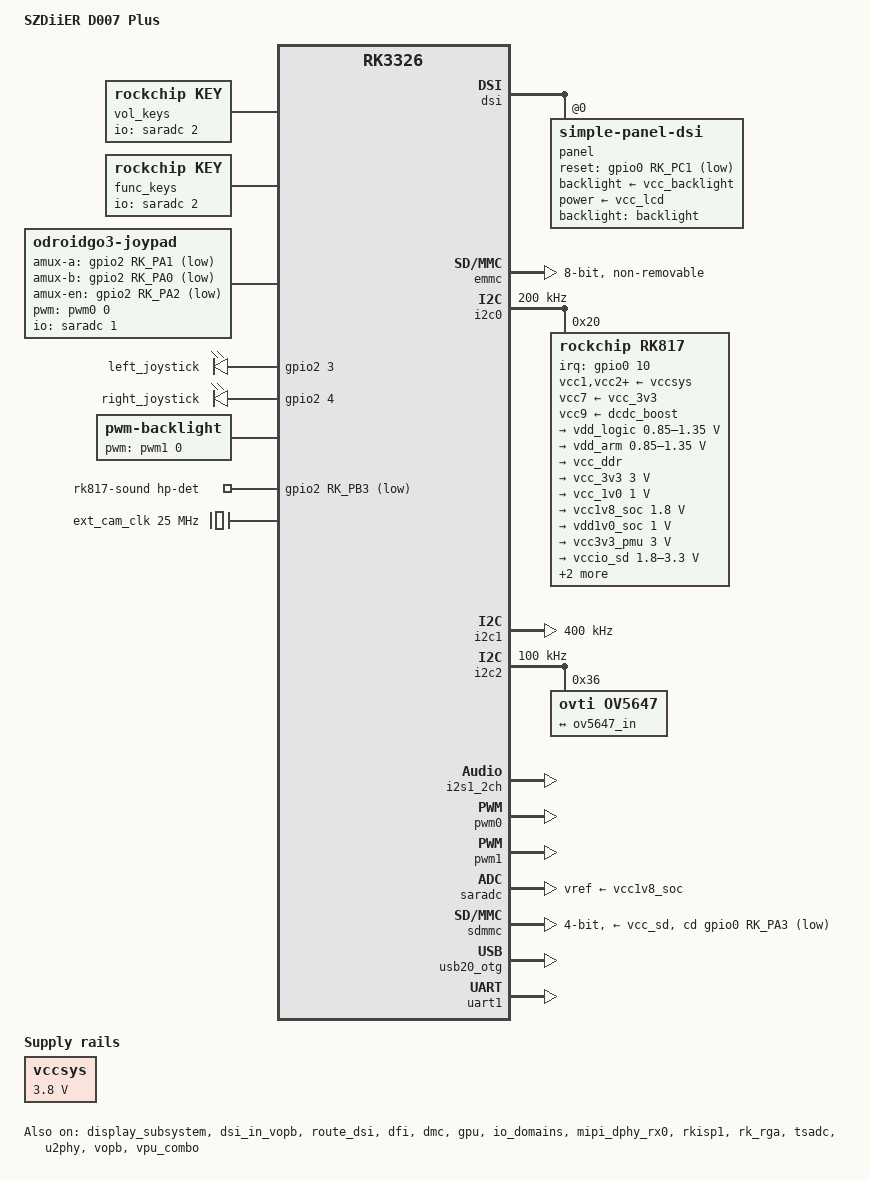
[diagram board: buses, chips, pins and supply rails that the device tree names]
// SPDX-License-Identifier: (GPL-2.0+ OR MIT)
/*
 * Copyright (c) 2021 Anbernic
 *
 * SZDiiER D007 Plus
 *
 */

/dts-v1/;
#include <dt-bindings/display/drm_mipi_dsi.h>
#include <dt-bindings/gpio/gpio.h>
#include <dt-bindings/input/input.h>
#include <dt-bindings/pinctrl/rockchip.h>
#include <dt-bindings/sensor-dev.h>
#include "rk3326.dtsi"
#include "rk3326-linux.dtsi"

/ {
	model = "SZDiiER D007 Plus";
	compatible = "rockchip,rk3326-d007-linux", "rockchip,rk3326";

	chosen {
                bootargs = "";
	};


	vol_keys: rg351-keys {
		compatible = "rockchip,key";
		io-channels = <&saradc 2>;

		vol-down-key {
			linux,code = <KEY_VOLUMEDOWN>;
			label = "volume down";
			rockchip,adc_value = <166>;
		};

		vol-up-key {
			linux,code = <KEY_VOLUMEUP>;
			label = "volume up";
			rockchip,adc_value = <9>;
		};
	};


	func_keys: func-keys {
		compatible = "rockchip,key";
		io-channels = <&saradc 2>;

		select-key {
			linux,code = <KEY_RIGHTSHIFT>;
			label = "select";
			rockchip,adc_value = <347>;
		};

		start-key {
			linux,code = <KEY_ENTER>;
			label = "start";
			rockchip,adc_value = <553>;
		};

		esc-key {
			linux,code = <KEY_ESC>;
			label = "esc/FN";
			rockchip,adc_value = <740>;
		};
	};

	joypad: odroidgo3-joypad {
                compatible = "odroidgo3-joypad";
                pwms = <&pwm0 0 200000000 0>;		 
                pwm-names = "enable";
                rumble-boost-weak = <0x0000>;
                rumble-boost-strong = <0x0000>;

                joypad-name = "GO-Super Gamepad";
                joypad-product = <0x1100>;
                joypad-revision = <0x0100>;

		status = "okay";
                /*
                  - odroidgo3-joypad sysfs list -
		   * for poll device interval(ms)
		   /sys/devices/platform/odroidgo3_joypad/poll_interval [rw]
		   ex) echo 20 > poll_interval
                   * for button-adc-fuzz
		   /sys/devices/platform/odroidgo3_joypad/adc_fuzz [r]
                   * for button-adc-flat
		   /sys/devices/platform/odroidgo3_joypad/adc_flat [r]

		   * for report control(1:enable, 0:disable)
		   /sys/devices/platform/odroidgo3_joypad/enable [rw]
		   * for adc calibration value setup(current adcs value -> cal value)
		   /sys/devices/platform/odroidgo3_joypad/adc_cal [rw]
		   ex) echo 0 > adc_cal
		   * for amux data debug
		   * Joypad driver is disabled when using this sysfs.
		   /sys/devices/platform/odroidgo3_joypad/amux_debug [rw]
		   ex) echo 0 > amux_debug --> select amux channel
		   ex) cat amux_debug --> get adc data of seleted channel
                */

		/* gpio pincontrol setup */
                pinctrl-names = "default";
                pinctrl-0 = <&btn_pins>;
				pinctrl-1 = <&pwm0_pin>;

		/* Analog mux define */
		io-channel-names = "amux_adc";
		io-channels = <&saradc 1>;

		/* adc mux channel count */
		amux-count = <4>;
		/* adc mux select(a,b) gpio */
		amux-a-gpios = <&gpio2 RK_PA1 GPIO_ACTIVE_LOW>;
		amux-b-gpios = <&gpio2 RK_PA0 GPIO_ACTIVE_LOW>;
		/* adc mux enable gpio */
		amux-en-gpios = <&gpio2 RK_PA2 GPIO_ACTIVE_LOW>;

		/* adc calculate scale */
		button-adc-scale = <2>;

		/* adc deadzone range  */
		button-adc-deadzone = <16>;

		/*
		  specifies fuzz value that is used to filter noise from
		  the event stream.
		*/
		button-adc-fuzz = <32>;
		button-adc-flat = <32>;

		/*
		  Analog Stick data tuning value(precent)
		  p = positive direction, n = negative direction
		  report value = (real_adc_data * tuning_value) / 100
		*/
		abs_x-p-tuning = <200>;
		abs_x-n-tuning = <850>;

		abs_y-p-tuning = <250>;
		abs_y-n-tuning = <850>;

		abs_rx-p-tuning = <200>;
		abs_rx-n-tuning = <850>;

		abs_ry-p-tuning = <200>;
		abs_ry-n-tuning = <850>;

		/* poll device interval (ms), adc read interval */
		poll-interval = <10>;

		/* required for RG351MP  */
		invert-absx;
		invert-absrx;
		
		/* required for D007 */
		switch-xy;
		switch-rxy;

		/* gpio button auto repeat set value : default disable */
		/*
			autorepeat;
		*/

		/*
		      *** ODROIDGO3-Advance Switch layoout ***
		|------------------------------------------------|
		| sw15  sw21        sw10   sw9        sw20  sw16 |
		|------------------------------------------------|
		|      sw19                            sw22      |
		|              |-------------------|             |
		|     sw1      |                   |      sw8    |
		|  sw3   sw4   |                   |   sw7   sw5 |
		|     sw2      |    LCD Display    |      sw6    |
		|              |                   |             |
		|              |                   |             |
		|              |-------------------|             |
		|  sw11 sw12        | sd-slot |       sw13 sw14  |
		|-------------------|         |------------------|
		*/
                /*
                    joypad driver is poll-device driver.
                    poll-device is does not support wakeup-source.
		*/
                sw15 {
                        gpios = <&gpio3 RK_PC3 GPIO_ACTIVE_LOW>;
                        label = "GPIO TOP-LEFT";
                        linux,code = <BTN_TL>; 
                };
                sw16 {
                        gpios = <&gpio3 RK_PC1 GPIO_ACTIVE_LOW>;
                        label = "GPIO TOP-RIGHT";
                        linux,code = <BTN_TR>; 
                };
                sw20 {
                        gpios = <&gpio3 RK_PC0 GPIO_ACTIVE_LOW>;
                        label = "GPIO TOP-RIGHT2";
                        linux,code = <BTN_TR2>; 
                };
                sw21 {
                        gpios = <&gpio3 RK_PC2 GPIO_ACTIVE_LOW>;
                        label = "GPIO TOP-LEFT2";
                        linux,code = <BTN_TL2>; 
                };
                sw8 {
                        gpios = <&gpio3 RK_PB2 GPIO_ACTIVE_LOW>;
                        label = "GPIO BTN-X";
                        linux,code = <BTN_NORTH>; 
                };
                sw5 {
                        gpios = <&gpio3 RK_PC4 GPIO_ACTIVE_LOW>;
                        label = "GPIO KEY BTN-A";
                        linux,code = <BTN_EAST>;
                };
                sw6 {
                        gpios = <&gpio3 RK_PC5 GPIO_ACTIVE_LOW>;
                        label = "GPIO BTN-B";
                        linux,code = <BTN_SOUTH>;
                };
                sw7 {
                        gpios = <&gpio3 RK_PB3 GPIO_ACTIVE_LOW>;
                        label = "GPIO BTN-Y";
                        linux,code = <BTN_WEST>;
                };
                sw3 {
                        gpios = <&gpio3 RK_PB5 GPIO_ACTIVE_LOW>;
                        label = "GPIO DPAD-LEFT";
                        linux,code = <BTN_DPAD_LEFT>;
                };
                sw4 {
                        gpios = <&gpio3 RK_PD0 GPIO_ACTIVE_LOW>;
                        label = "GPIO DPAD-RIGHT";
                        linux,code = <BTN_DPAD_RIGHT>;
                };
                sw1 {
                        gpios = <&gpio3 RK_PD1 GPIO_ACTIVE_LOW>;
                        label = "GPIO DPAD-UP";
                        linux,code = <BTN_DPAD_UP>;
                };
                sw2 {
                        gpios = <&gpio3 RK_PD2 GPIO_ACTIVE_LOW>;
                        label = "GPIO DPAD-DOWN";
                        linux,code = <BTN_DPAD_DOWN>;
                };
                sw11 { //sw11
                        gpios = <&gpio2 RK_PB1 GPIO_ACTIVE_LOW>;
                        label = "GPIO F4";
                        linux,code = <BTN_TRIGGER_HAPPY3>; //Left click BTN_TRIGGER_HAPPY4
                };
                sw12 { //sw12
                        gpios = <&gpio2 RK_PB2 GPIO_ACTIVE_LOW>;
                        label = "GPIO F1";
                        linux,code = <BTN_TRIGGER_HAPPY4>; //Right click BTN_TRIGGER_HAPPY1
                };
				sw19 { //sw19 non existing
                        gpios = <&gpio3 RK_PA7 GPIO_ACTIVE_LOW>;
                        label = "GPIO F3"; 
                        linux,code = <BTN_TRIGGER_HAPPY1>; //NOT mapped
                };
				sw22 { //sw22 non existing
                        gpios = <&gpio3 RK_PB4 GPIO_ACTIVE_LOW>;
                        label = "GPIO F2";
                        linux,code = <BTN_TRIGGER_HAPPY2>; //NOT mapped
                };
				sw23 { //sw23 non existing
                        gpios = <&gpio0 RK_PC2 GPIO_ACTIVE_LOW>;
                        label = "GPIO F4";
                        linux,code = <BTN_TRIGGER_HAPPY6>; //NOT mapped
                };
        };

	fiq-debugger {
		compatible = "rockchip,fiq-debugger";
		rockchip,serial-id = <2>;
		rockchip,wake-irq = <0>;
		/* If enable uart uses irq instead of fiq */
		rockchip,irq-mode-enable = <0>;
		rockchip,baudrate = <115200>;  /* Only 115200 and 1500000 */
		interrupts = <GIC_SPI 127 IRQ_TYPE_LEVEL_LOW>;
		pinctrl-names = "default";
		pinctrl-0 = <&uart2m1_xfer>;
		status = "okay";
	};

	leds: gpio_leds {
		compatible = "gpio-leds";
		status = "okay";

		pinctrl-names = "led_pins";
		pinctrl-0 = <&led_pins>;

		left_joystick {
			default-state = "off";
			gpios = <&gpio2 3 GPIO_ACTIVE_HIGH>;
		};

		right_joystick  {
			default-state = "off";
			gpios = <&gpio2 4 GPIO_ACTIVE_HIGH>;
		};


	};

	backlight: backlight {
		compatible = "pwm-backlight";
                pwms = <&pwm1 0 62745 0>;
                brightness-levels = <
                          2   3   4   5   6   7
                          8   9  10  11  12  13  14  15
                         16  17  18  19  20  21  22  23
                         24  25  26  27  28  29  30  31
                         32  33  34  35  36  37  38  39
                         40  41  42  43  44  45  46  47
                         48  49  50  51  52  53  54  55
                         56  57  58  59  60  61  62  63
                         64  65  66  67  68  69  70  71
                         72  73  74  75  76  77  78  79
                         80  81  82  83  84  85  86  87
                         88  89  90  91  92  93  94  95
                         96  97  98  99 100 101 102 >;
                default-brightness-level = <51>; /* default 50% */
	};

	rk817-sound {
		compatible = "simple-audio-card";
		simple-audio-card,format = "i2s";
		simple-audio-card,name = "rockchip,rk817-codec";
		simple-audio-card,mclk-fs = <256>;
		simple-audio-card,widgets =
			"Microphone", "Mic Jack",
			"Headphone", "Headphone Jack";
		simple-audio-card,routing =
			"MIC_IN", "Mic Jack",
			/*"IN1P", "Mic Jack",*/
			"Headphone Jack", "HPOL",
			"Headphone Jack", "HPOR";
		simple-audio-card,hp-det-gpio = <&gpio2 RK_PB3 GPIO_ACTIVE_LOW>;
		simple-audio-card,codec-hp-det = <1>;
		simple-audio-card,cpu {
			sound-dai = <&i2s1_2ch>;
		};
		simple-audio-card,codec {
			sound-dai = <&rk817_codec>;
		};
	};
/*
	rk_headset {
		compatible = "rockchip_headset";
		headset_gpio = <&gpio2 RK_PB3 GPIO_ACTIVE_LOW>;
		pinctrl-names = "default";
		pinctrl-0 = <&hp_det>;
	};*/

	vccsys: vccsys {
		compatible = "regulator-fixed";
		regulator-name = "vcc3v8_sys";
		regulator-always-on;
		regulator-min-microvolt = <3800000>;
		regulator-max-microvolt = <3800000>;
	};

	ext_cam_clk: external-camera-clock {
		compatible = "fixed-clock";
		clock-frequency = <25000000>;
		clock-output-names = "CLK_CAMERA_25MHZ";
		#clock-cells = <0>;
	};
};
&bus_apll {
	bus-supply = <&vdd_logic>;
	status = "okay";
};

&cpu0 {
	cpu-supply = <&vdd_arm>;
};

&cpu0_opp_table {
	rockchip,avs = <1>;

	/* bin scaling clock 1.296MHz */
	rockchip,bin-scaling-sel = <
		0	10
		1	13
		2	16
		3	20
	>;

	/delete-node/ opp-408000000;
	/delete-node/ opp-600000000;
	/delete-node/ opp-696000000;
	/delete-node/ opp-1416000000;
	/delete-node/ opp-1512000000;

	opp-816000000 {
		opp-hz = /bits/ 64 <816000000>;
		opp-microvolt = <1050000 1050000 1350000>;
		opp-microvolt-L0 = <1050000 1050000 1350000>;
		opp-microvolt-L1 = <1000000 1000000 1350000>;
		opp-microvolt-L2 = <1000000 1000000 1350000>;
		opp-microvolt-L3 = <950000  950000  1350000>;
		clock-latency-ns = <40000>;
		opp-suspend;
	};

	opp-912000000 {
		opp-hz = /bits/ 64 <912000000>;
		opp-microvolt = <1125000 1125000 1350000>;
		opp-microvolt-L0 = <1125000 1125000 1350000>;
		opp-microvolt-L1 = <1075000 1075000 1350000>;
		opp-microvolt-L2 = <1075000 1075000 1350000>;
		opp-microvolt-L3 = <1000000 1000000 1350000>;
		clock-latency-ns = <40000>;
	};

	opp-1008000000 {
		opp-hz = /bits/ 64 <1008000000>;
		opp-microvolt = <1175000 1175000 1350000>;
		opp-microvolt-L0 = <1175000 1175000 1350000>;
		opp-microvolt-L1 = <1125000 1125000 1350000>;
		opp-microvolt-L2 = <1125000 1125000 1350000>;
		opp-microvolt-L3 = <1050000 1050000 1350000>;
		clock-latency-ns = <40000>;
	};

	opp-1200000000 {
		opp-hz = /bits/ 64 <1200000000>;
		opp-microvolt = <1300000 1300000 1350000>;
		opp-microvolt-L0 = <1300000 1300000 1350000>;
		opp-microvolt-L1 = <1275000 1275000 1350000>;
		opp-microvolt-L2 = <1250000 1250000 1350000>;
		opp-microvolt-L3 = <1200000 1200000 1350000>;
		clock-latency-ns = <40000>;
	};

	opp-1248000000 {
		opp-hz = /bits/ 64 <1248000000>;
		opp-microvolt = <1350000 1350000 1350000>;
		opp-microvolt-L0 = <1350000 1350000 1350000>;
		opp-microvolt-L1 = <1300000 1300000 1350000>;
		opp-microvolt-L2 = <1275000 1275000 1350000>;
		opp-microvolt-L3 = <1225000 1225000 1350000>;
		clock-latency-ns = <40000>;
	};

	opp-1296000000 {
		opp-hz = /bits/ 64 <1296000000>;
		opp-microvolt = <1350000 1350000 1350000>;
		opp-microvolt-L0 = <1350000 1350000 1350000>;
		opp-microvolt-L1 = <1350000 1350000 1350000>;
		opp-microvolt-L2 = <1300000 1300000 1350000>;
		opp-microvolt-L3 = <1250000 1250000 1350000>;
		clock-latency-ns = <40000>;
	};

	opp-1320000000 {
		opp-hz = /bits/ 64 <1320000000>;
		opp-microvolt = <1350000 1350000 1350000>;
		opp-microvolt-L0 = <1350000 1350000 1350000>;
		opp-microvolt-L1 = <1350000 1350000 1350000>;
		opp-microvolt-L2 = <1300000 1300000 1350000>;
		opp-microvolt-L3 = <1250000 1250000 1350000>;
		clock-latency-ns = <40000>;
	};

	opp-1344000000 {
		opp-hz = /bits/ 64 <1344000000>;
		opp-microvolt = <1350000 1350000 1350000>;
		opp-microvolt-L0 = <1350000 1350000 1350000>;
		opp-microvolt-L1 = <1350000 1350000 1350000>;
		opp-microvolt-L2 = <1300000 1300000 1350000>;
		opp-microvolt-L3 = <1250000 1250000 1350000>;
		clock-latency-ns = <40000>;
	};

	opp-1368000000 {
		opp-hz = /bits/ 64 <1368000000>;
		opp-microvolt = <1350000 1350000 1350000>;
		opp-microvolt-L0 = <1350000 1350000 1350000>;
		opp-microvolt-L1 = <1350000 1350000 1350000>;
		opp-microvolt-L2 = <1300000 1300000 1350000>;
		opp-microvolt-L3 = <1250000 1250000 1350000>;
		clock-latency-ns = <40000>;
	};
};

&display_subsystem {
	status = "okay";
};

&dsi {
	status = "okay";

	panel@0 {
		compatible = "simple-panel-dsi";
		reg = <0>;

		/* pwm1 backlight */
		backlight = <&backlight>;
		/* RK817 LDO7 */
		backlight-supply = <&vcc_backlight>;
		/* RK817 LDO8 */
		power-supply = <&vcc_lcd>;

		/* Rev 0.2 LCD reset gpio GPIO3.C0 */
		reset-gpios = <&gpio0 RK_PC1 GPIO_ACTIVE_LOW>;

		prepare-delay-ms = <120>;
		reset-delay-ms = <200>;
		init-delay-ms = <20>;
		enable-delay-ms = <20>;
		disable-delay-ms = <20>;
		unprepare-delay-ms = <120>;

		/* LCD size */
		width-mm = <64>;
		height-mm = <48>;

		dsi,flags = <(MIPI_DSI_MODE_VIDEO           |
			      MIPI_DSI_MODE_VIDEO_BURST     |
			      MIPI_DSI_MODE_LPM             |
			      MIPI_DSI_MODE_EOT_PACKET)>;

		dsi,format = <MIPI_DSI_FMT_RGB888>;
		dsi,lanes = <4>;

		/*
			- panel-init-sequence data description -
			  mipi_cmd, delay(ms), len, lcd_cmd, lcd_data...

			- mipi_cmd description -
			  05 : MIPI_DSI_SHORT_WRITE
			  15 : MIPI_DSI_SHORT_WRITE_PARAM
			  39 : MIPI_DSI_LONG_WRITE

			- ILI9486 (Initialize sequence) -
			  11: Sleep out & 250ms wait
			  E0: PositiveGamma
			  E1: NegativeGamma
			  C0: PowerControl_1
			  C1: PowerControl_2
			  C5: VcomControl
			  36: MemoryAccess
			  3A: InterfacePixelFormat
			  B0: InterfaceModeControl
			  B1: FrameRateControl
			  B4: DisplayInversionControl
			  B6: DisplayFunctionControl
			  E9: SetImageFunction
			  F7: AdjustControl_3
			  21: DisplayInversionOn
			  29: DisplayOn & 50ms wait
		*/

		panel-init-sequence = [15 00 02 ff 30 15 00 02 ff 52 15 00 02 ff 01 15 00 02 e3 00 15 00 02 24 12 15 00 02 25 14 15 00 02 26 78 15 00 02 27 78 15 00 02 28 6f 15 00 02 29 01 15 00 02 2a df 15 00 02 37 9c 15 00 02 38 a7 15 00 02 39 51 15 00 02 44 00 15 00 02 49 3c 15 00 02 59 fe 15 00 02 5c 00 15 00 02 80 20 15 00 02 91 77 15 00 02 92 77 15 00 02 a0 55 15 00 02 a1 50 15 00 02 a3 58 15 00 02 a4 9c 15 00 02 a7 02 15 00 02 a8 01 15 00 02 a9 21 15 00 02 aa fc 15 00 02 ab 28 15 00 02 ac 06 15 00 02 ad 06 15 00 02 ae 06 15 00 02 af 03 15 00 02 b0 08 15 00 02 b1 26 15 00 02 b2 28 15 00 02 b3 28 15 00 02 b4 03 15 00 02 b5 08 15 00 02 b6 26 15 00 02 b7 08 15 00 02 b8 26 15 00 02 ff 30 15 00 02 ff 52 15 00 02 ff 02 15 00 02 b0 0b 15 00 02 b1 16 15 00 02 b2 17 15 00 02 b3 2c 15 00 02 b4 32 15 00 02 b5 3b 15 00 02 b6 29 15 00 02 b7 40 15 00 02 b8 0d 15 00 02 b9 05 15 00 02 ba 12 15 00 02 bb 10 15 00 02 bc 12 15 00 02 bd 15 15 00 02 be 19 15 00 02 bf 0e 15 00 02 c0 16 15 00 02 c1 0a 15 00 02 d0 0c 15 00 02 d1 17 15 00 02 d2 14 15 00 02 d3 2e 15 00 02 d4 32 15 00 02 d5 3c 15 00 02 d6 22 15 00 02 d7 3d 15 00 02 d8 0d 15 00 02 d9 07 15 00 02 da 13 15 00 02 db 13 15 00 02 dc 11 15 00 02 dd 15 15 00 02 de 19 15 00 02 df 10 15 00 02 e0 17 15 00 02 e1 0a 15 00 02 ff 30 15 00 02 ff 52 15 00 02 ff 03 15 00 02 ff 30 15 00 02 ff 52 15 00 02 ff 03 15 00 02 00 00 15 00 02 01 00 15 00 02 02 00 15 00 02 03 00 15 00 02 04 61 15 00 02 05 80 15 00 02 06 c7 15 00 02 07 01 15 00 02 08 82 15 00 02 09 83 15 00 02 30 00 15 00 02 31 00 15 00 02 32 00 15 00 02 33 00 15 00 02 34 61 15 00 02 35 c5 15 00 02 36 80 15 00 02 37 23 15 00 02 40 82 15 00 02 41 83 15 00 02 42 80 15 00 02 43 81 15 00 02 44 11 15 00 02 45 e2 15 00 02 46 e1 15 00 02 47 11 15 00 02 48 e4 15 00 02 49 e3 15 00 02 50 02 15 00 02 51 01 15 00 02 52 04 15 00 02 53 03 15 00 02 54 11 15 00 02 55 e6 15 00 02 56 e5 15 00 02 57 11 15 00 02 58 e8 15 00 02 59 e7 15 00 02 7e 08 15 00 02 81 0f 15 00 02 84 0c 15 00 02 85 0d 15 00 02 86 07 15 00 02 87 04 15 00 02 88 05 15 00 02 89 06 15 00 02 8a 00 15 00 02 97 0f 15 00 02 9a 0c 15 00 02 9b 0d 15 00 02 9c 07 15 00 02 9d 04 15 00 02 9e 05 15 00 02 9f 06 15 00 02 a0 00 15 00 02 e0 02 15 00 02 e1 52 15 00 02 ff 30 15 00 02 ff 52 15 00 02 ff 00 15 00 02 36 02 05 c8 01 11 05 64 01 29];

		panel-exit-sequence = [
			05 10 01 28
			05 20 01 10
		];

		display-timings {
			native-mode = <&timing0>;

			timing0: timing0 {
				clock-frequency = <33000000>;
				hactive = <640>;
				vactive = <480>;
				hfront-porch = <120>;
				hsync-len = <2>;
				hback-porch = <120>;
				vfront-porch = <18>;
				vsync-len = <2>;
				vback-porch = <20>;
				hsync-active = <1>;
				vsync-active = <1>;
				de-active = <0>;
				pixelclk-active = <0>;
			};
		};
	};
};

&dsi_in_vopb {
	status = "okay";
};

&route_dsi {
	connect = <&vopb_out_dsi>;
	status = "okay";
};

&dfi {
	status = "okay";
};

&dmc {
	status = "okay";
	center-supply = <&vdd_logic>;
	upthreshold = <40>;
	downdifferential = <20>;
	system-status-freq = <
		/*system status         freq(KHz)*/
		SYS_STATUS_NORMAL       666000
		SYS_STATUS_REBOOT       786000
		SYS_STATUS_SUSPEND      450000
		SYS_STATUS_VIDEO_1080P  666000
		SYS_STATUS_VIDEO_4K     786000
		SYS_STATUS_VIDEO_4K_10B 786000
		SYS_STATUS_PERFORMANCE  850000
		SYS_STATUS_BOOST        850000
		SYS_STATUS_DUALVIEW     786000
		SYS_STATUS_ISP          786000
	>;

	auto-min-freq = <450000>;
	auto-freq-en = <1>;
};

&dmc_opp_table {
	/delete-node/ opp-194000000;
	/delete-node/ opp-328000000;
	/delete-node/ opp-786000000;

	opp-450000000 {
		opp-hz = /bits/ 64 <450000000>;
		opp-microvolt = <950000>;
	};

	opp-528000000 {
		opp-hz = /bits/ 64 <528000000>;
		opp-microvolt = <975000>;
	};

	opp-666000000 {
		opp-hz = /bits/ 64 <666000000>;
		opp-microvolt = <1050000>;
	};

	opp-786000000 {
		opp-hz = /bits/ 64 <786000000>;
		opp-microvolt = <1150000>;
	};

	opp-840000000 {
		opp-hz = /bits/ 64 <840000000>;
		opp-microvolt = <1150000>;
	};
};

&emmc {
	bus-width = <8>;
	cap-mmc-highspeed;
	mmc-hs200-1_8v;
	supports-emmc;
	disable-wp;
	non-removable;
	num-slots = <1>;
	status = "okay";
};

&gpu {
	mali-supply = <&vdd_logic>;
	status = "okay";
};

&gpu_opp_table {
	/delete-node/ opp-200000000;
	/delete-node/ opp-300000000;
	/delete-node/ opp-520000000;

	opp-400000000 {
		opp-hz = /bits/ 64 <400000000>;
		opp-microvolt = <1050000>;
		opp-microvolt-L0 = <1050000>;
		opp-microvolt-L1 = <1025000>;
		opp-microvolt-L2 = <975000>;
		opp-microvolt-L3 = <950000>;
	};
	opp-480000000 {
		opp-hz = /bits/ 64 <480000000>;
		opp-microvolt = <1125000>;
		opp-microvolt-L0 = <1125000>;
		opp-microvolt-L1 = <1100000>;
		opp-microvolt-L2 = <1050000>;
		opp-microvolt-L3 = <1000000>;
	};

	opp-520000000 {
		opp-hz = /bits/ 64 <520000000>;
		opp-microvolt = <1150000>;
		opp-microvolt-L0 = <1150000>;
		opp-microvolt-L1 = <1150000>;
		opp-microvolt-L2 = <1100000>;
		opp-microvolt-L3 = <1050000>;
	};

	opp-540000000 {
		opp-hz = /bits/ 64 <540000000>;
		opp-microvolt = <1150000>;
		opp-microvolt-L0 = <1150000>;
		opp-microvolt-L1 = <1150000>;
		opp-microvolt-L2 = <1100000>;
		opp-microvolt-L3 = <1050000>;
	};

	opp-560000000 {
		opp-hz = /bits/ 64 <560000000>;
		opp-microvolt = <1150000>;
		opp-microvolt-L0 = <1150000>;
		opp-microvolt-L1 = <1150000>;
		opp-microvolt-L2 = <1100000>;
		opp-microvolt-L3 = <1050000>;
	};
};

&i2c0 {
	status = "okay";
	clock-frequency = <200000>;
	i2c-scl-rising-time-ns = <280>;
	i2c-scl-falling-time-ns = <16>;

	rk817: pmic@20 {
		compatible = "rockchip,rk817";
		reg = <0x20>;
		interrupt-parent = <&gpio0>;
		interrupts = <10 IRQ_TYPE_LEVEL_LOW>;
		pinctrl-names = "default", "pmic-sleep",
				"pmic-power-off", "pmic-reset";
		pinctrl-0 = <&pmic_int>;
		pinctrl-1 = <&soc_slppin_slp>, <&rk817_slppin_slp>;
		pinctrl-2 = <&soc_slppin_gpio>, <&rk817_slppin_pwrdn>;
		pinctrl-3 = <&soc_slppin_rst>, <&rk817_slppin_rst>;
		rockchip,system-power-controller;
		wakeup-source;
		#clock-cells = <1>;
		clock-output-names = "rk808-clkout1", "rk808-clkout2";
		//fb-inner-reg-idxs = <2>;

		/* 1: rst regs (default in codes), 0: rst the pmic */
		pmic-reset-func = <1>;

		vcc1-supply = <&vccsys>;
		vcc2-supply = <&vccsys>;
		vcc3-supply = <&vccsys>;
		vcc4-supply = <&vccsys>;
		vcc5-supply = <&vccsys>;
		vcc6-supply = <&vccsys>;
		vcc7-supply = <&vcc_3v3>;
		vcc8-supply = <&vccsys>;
		vcc9-supply = <&dcdc_boost>;

		pwrkey {
			status = "okay";
		};

		pinctrl_rk8xx: pinctrl_rk8xx {
			gpio-controller;
			#gpio-cells = <2>;

			rk817_ts_gpio1: rk817_ts_gpio1 {
				pins = "gpio_ts";
				function = "pin_fun1";
				/* output-low; */
				/* input-enable; */
			};

			rk817_gt_gpio2: rk817_gt_gpio2 {
				pins = "gpio_gt";
				function = "pin_fun1";
			};

			rk817_pin_ts: rk817_pin_ts {
				pins = "gpio_ts";
				function = "pin_fun0";
			};

			rk817_pin_gt: rk817_pin_gt {
				pins = "gpio_gt";
				function = "pin_fun0";
			};

			rk817_slppin_null: rk817_slppin_null {
				pins = "gpio_slp";
				function = "pin_fun0";
			};

			rk817_slppin_slp: rk817_slppin_slp {
				pins = "gpio_slp";
				function = "pin_fun1";
			};

			rk817_slppin_pwrdn: rk817_slppin_pwrdn {
				pins = "gpio_slp";
				function = "pin_fun2";
			};

			rk817_slppin_rst: rk817_slppin_rst {
				pins = "gpio_slp";
				function = "pin_fun3";
			};
		};

		regulators {
			vdd_logic: DCDC_REG1 {
				regulator-always-on;
				regulator-boot-on;
				regulator-min-microvolt = <850000>;
				regulator-max-microvolt = <1350000>;
				regulator-ramp-delay = <6001>;
				regulator-initial-mode = <0x2>;
				regulator-name = "vdd_logic";
				regulator-state-mem {
					regulator-on-in-suspend;
					regulator-suspend-microvolt = <950000>;
				};
			};

			vdd_arm: DCDC_REG2 {
				regulator-always-on;
				regulator-boot-on;
				regulator-min-microvolt = <850000>;
				regulator-max-microvolt = <1350000>;
				regulator-ramp-delay = <6001>;
				regulator-initial-mode = <0x2>;
				regulator-name = "vdd_arm";
				regulator-state-mem {
					regulator-off-in-suspend;
					regulator-suspend-microvolt = <950000>;
				};
			};

			vcc_ddr: DCDC_REG3 {
				regulator-always-on;
				regulator-boot-on;
				regulator-initial-mode = <0x2>;
				regulator-name = "vcc_ddr";
				regulator-state-mem {
					regulator-on-in-suspend;
				};
			};

			vcc_3v3: DCDC_REG4 {
				regulator-always-on;
				regulator-boot-on;
				regulator-min-microvolt = <3000000>;
				regulator-max-microvolt = <3000000>;
				regulator-initial-mode = <0x2>;
				regulator-name = "vcc_3v3";
				regulator-state-mem {
					regulator-off-in-suspend;
					regulator-suspend-microvolt = <3000000>;
				};
			};

			/* Not Used */
			vcc_1v0: LDO_REG1 {
				regulator-always-on;
				regulator-boot-on;
				regulator-min-microvolt = <1000000>;
				regulator-max-microvolt = <1000000>;
				regulator-name = "vcc_1v0";
				regulator-state-mem {
					regulator-on-in-suspend;
					regulator-suspend-microvolt = <1000000>;
				};
			};

			vcc1v8_soc: LDO_REG2 {
				regulator-always-on;
				regulator-boot-on;
				regulator-min-microvolt = <1800000>;
				regulator-max-microvolt = <1800000>;

				regulator-name = "vcc1v8_soc";
				regulator-state-mem {
					regulator-on-in-suspend;
					regulator-suspend-microvolt = <1800000>;
				};
			};

			vdd1v0_soc: LDO_REG3 {
				regulator-always-on;
				regulator-boot-on;
				regulator-min-microvolt = <1000000>;
				regulator-max-microvolt = <1000000>;

				regulator-name = "vcc1v0_soc";
				regulator-state-mem {
					regulator-on-in-suspend;
					regulator-suspend-microvolt = <1000000>;
				};
			};

			vcc3v3_pmu: LDO_REG4 {
				regulator-always-on;
				regulator-boot-on;
				regulator-min-microvolt = <3000000>;
				regulator-max-microvolt = <3000000>;

				regulator-name = "vcc3v3_pmu";
				regulator-state-mem {
					regulator-on-in-suspend;
					regulator-suspend-microvolt = <3000000>;

				};
			};

			vccio_sd: LDO_REG5 {
				regulator-always-on;
				regulator-boot-on;
				regulator-min-microvolt = <1800000>;
				regulator-max-microvolt = <3300000>;

				regulator-name = "vccio_sd";
				regulator-state-mem {
					regulator-on-in-suspend;
					regulator-suspend-microvolt = <3300000>;
				};
			};

			vcc_sd: LDO_REG6 {
				regulator-min-microvolt = <3300000>;
				regulator-max-microvolt = <3300000>;

				regulator-name = "vcc_sd";
				regulator-state-mem {
					regulator-on-in-suspend;
					regulator-suspend-microvolt = <3300000>;

				};
			};

			/* GO3 : Not used LCD Backlight Power */
			vcc_backlight: LDO_REG7 {
				regulator-boot-on;
				regulator-min-microvolt = <2800000>;
				regulator-max-microvolt = <2800000>;
				regulator-name = "vcc_backlight";
				regulator-state-mem {
					regulator-off-in-suspend;
					regulator-suspend-microvolt = <2800000>;
				};
			};

			/* Rev 0.1 GO3 LCD IO Power */
			vcc_lcd: LDO_REG8 {
				regulator-boot-on;
				regulator-min-microvolt = <1800000>;
				regulator-max-microvolt = <1800000>;
				regulator-name = "vcc_lcd";
				regulator-state-mem {
					regulator-off-in-suspend;
					regulator-suspend-microvolt = <1800000>;
				};
			};

			/* Rev 1.1 WIFI Power */
			vcc_wifi: LDO_REG9 {
				regulator-boot-on;
				regulator-min-microvolt = <1500000>;
				regulator-max-microvolt = <1500000>;
				regulator-name = "vcc_wifi";
				regulator-state-mem {
					regulator-off-in-suspend;
					regulator-suspend-microvolt = <1500000>;
				};
			};

			dcdc_boost: BOOST {
				regulator-always-on;
				regulator-boot-on;
				regulator-min-microvolt = <4700000>;
				regulator-max-microvolt = <5400000>;
				regulator-name = "boost";
			};

			otg_switch: OTG_SWITCH {
				regulator-boot-on;
				regulator-name = "otg_switch";
			};
		};

		battery {
			compatible = "rk817,battery";
			ocv_table = <3400 3442 3489 3531 3565 3596 3620 3645 3678 3721 3769 3821 3862 3887 3903 3949 3999 4022 4030 4069 4142>;
			design_capacity = <2394>;
			design_qmax = <2500>;
			bat_res = <100>;
			sleep_enter_current = <300>;
			sleep_exit_current = <300>;
			sleep_filter_current = <100>;
			power_off_thresd = <3400>;
			zero_algorithm_vol = <3850>;
			max_soc_offset = <60>;
			monitor_sec = <5>;
			virtual_power = <0>;
			sample_res = <10>;
			power_dc2otg = <0>;
		};

		charger {
			compatible = "rk817,charger";
			min_input_voltage = <4500>;
			max_input_current = <1500>;
			max_chrg_current = <2000>;
			max_chrg_voltage = <4200>;
			chrg_term_mode = <0>;
			chrg_finish_cur = <300>;
			virtual_power = <0>;
			sample_res = <10>;
			dc_det_gpio  = <0>;
			//dc_det_adc = <0>;
			extcon = <&u2phy>;
		};

		rk817_codec: codec {
			#sound-dai-cells = <0>;
			compatible = "rockchip,rk809-codec","rockchip,rk817-codec";
			clocks = <&cru SCLK_I2S1_OUT>;
			clock-names = "mclk";
			pinctrl-names = "default";
			pinctrl-0 = <&i2s1_2ch_mclk>;
			//hp-ctl-gpios = <&gpio0 RK_PA2 GPIO_ACTIVE_HIGH>;
			//spk-ctl-gpios = <&gpio0 RK_PB3 GPIO_ACTIVE_HIGH>; //LOW off HIGH on
			hp-volume = <25>;
			spk-volume = <25>;
			status = "okay";
		};
	};
};

/* EXT Header(P2) : 7(SCL:GPIO0.C2), 8(SDA:GPIO0.C3) */
&i2c1 {
	status = "okay";
	clock-frequency = <400000>;
};

/* MIPI CSI I2C */
&i2c2 {
	status = "okay";

	clock-frequency = <100000>;

	i2c-scl-falling-time-ns = <50>;
	i2c-scl-rising-time-ns = <300>;

	ov5647: ov5647@36 {
		compatible = "ovti,ov5647";
		reg = <0x36>;
		clocks = <&ext_cam_clk>;
		status = "okay";

		port {
			ov5647_out: endpoint {
				remote-endpoint = <&ov5647_in>;
				data-lanes = <1 2>;
			};
		};
	};
};

/* I2S 1 Channel Used */
&i2s1_2ch {
	status = "okay";
	#sound-dai-cells = <0>;
};

&io_domains {
	/* GRF Register Voltage select control */
	status = "okay";

	/* SDIO I/O Voltage */
	vccio1-supply = <&vcc_3v3>;
	/* SDMMC I/O Voltage */
	vccio2-supply = <&vccio_sd>;
	/* CAM I/O Voltage */
	vccio3-supply = <&vcc_3v3>;
	/* LVDS/LCDC I/O Voltage */
	vccio4-supply = <&vcc_3v3>;
	/* I2S I/O Voltage */
	vccio5-supply = <&vcc_3v3>;
	/* eMMC I/O Voltage */
	vccio6-supply = <&vcc_3v3>;
};

&isp_mmu {
	status = "okay";
};

&mipi_dphy_rx0 {
	status = "okay";

	ports {
		#address-cells = <1>;
		#size-cells = <0>;

		port@0 {
			reg = <0>;

			#address-cells = <1>;
			#size-cells = <0>;

			ov5647_in: endpoint@1 {
				reg = <1>;

				remote-endpoint = <&ov5647_out>;
				data-lanes = <1 2>;
			};
		};

		port@1 {
			reg = <1>;

			dphy_rx0_out: endpoint@0 {
				remote-endpoint = <&isp0_mipi_in>;
			};
		};
	};
};

&rkisp1 {
	status = "okay";

	port {
		#address-cells = <1>;
		#size-cells = <0>;

		/* mipi */
		isp0_mipi_in: endpoint@0 {
			reg = <0>;
			remote-endpoint = <&dphy_rx0_out>;
		};
	};
};

&spi0 {
	status = "disabled";
};

&pmu_io_domains {
	/* PMU GRF Register Voltage select control */
	status = "okay";

	/* PMU I/O Voltage */
	pmuio1-supply = <&vcc3v3_pmu>;
	/* GPIO0_B/GPIO0_C, Flash */
	pmuio2-supply = <&vcc3v3_pmu>;
};

/* RG351V Motor PWM */
&pwm0 {
	status = "okay";
};

/* LCD Backlight PWM */
&pwm1 {
	status = "okay";
};

&rk_rga {
	status = "okay";
};

&rockchip_suspend {
	status = "okay";
	rockchip,sleep-debug-en = <1>;
};

&sfc {
	status = "disabled";
};

&spi0 {
	status = "disabled";
};

&saradc {
	status = "okay";
	vref-supply = <&vcc1v8_soc>;
};

&sdmmc {
	bus-width = <4>;
	cap-mmc-highspeed;
	cap-sd-highspeed;
	supports-sd;
	card-detect-delay = <800>;
	ignore-pm-notify;
	cd-gpios = <&gpio0 RK_PA3 GPIO_ACTIVE_LOW>; /*[> CD GPIO <]*/
	sd-uhs-sdr12;
	sd-uhs-sdr25;
	sd-uhs-sdr50;
	sd-uhs-sdr104;
	vqmmc-supply = <&vccio_sd>;
	vmmc-supply = <&vcc_sd>;
	status = "okay";
};

&tsadc {
	pinctrl-names = "gpio", "otpout";
	pinctrl-0 = <&tsadc_otp_gpio>;
	pinctrl-1 = <&tsadc_otp_out>;
	status = "okay";
};

&u2phy {
	status = "okay";

	u2phy_host: host-port {
		status = "okay";
	};

	u2phy_otg: otg-port {
		status = "disabled";
	};
};

&usb20_otg {
	status = "okay";
};

/*
	EXT Header(P2) UART :
	2(RXD:GPIO1.C0),3(TXD:GPIO1.C1),4(CTS:GPIO1.C2),5(RTS:GPIO1.C3)
*/
&uart1 {
	pinctrl-names = "default";
	pinctrl-0 = <&uart1_xfer &uart1_cts>;
	status = "okay";
};

&vip_mmu {
	status = "okay";
};

&vopb {
	status = "okay";
};

&vopb_mmu {
	status = "okay";
};

&vpu_combo {
	status = "okay";
};

&pinctrl {
	/*
	headphone {
		hp_det: hp-det {
			rockchip,pins = <2 RK_PB3 RK_FUNC_GPIO &pcfg_pull_up>;
		};
	};*/

	pmic {
		/* ODROID-GO2 : PMIC_INT(GPIO0.PB2) */
		pmic_int: pmic_int {
			rockchip,pins =
				<0 RK_PB2 RK_FUNC_GPIO &pcfg_pull_up>;
		};

		/* ODROID-GO2 : PMIC_SLEEP(GPIO0.PA4) */
		soc_slppin_gpio: soc_slppin_gpio {
			rockchip,pins =
				<0 RK_PA4 RK_FUNC_GPIO &pcfg_output_low>;
		};

		soc_slppin_slp: soc_slppin_slp {
			rockchip,pins =
				<0 RK_PA4 RK_FUNC_1 &pcfg_pull_none>;
		};

		soc_slppin_rst: soc_slppin_rst {
			rockchip,pins =
				<0 RK_PA4 RK_FUNC_2 &pcfg_pull_none>;
		};
	};

	leds {
		led_pins: led-pins {
			rockchip,pins = <0 RK_PC1 RK_FUNC_GPIO &pcfg_pull_none>;
		};
	};
	btns {
		btn_pins: btn-pins {
			rockchip,pins = <1 RK_PB4 RK_FUNC_GPIO &pcfg_pull_up>,
					<1 RK_PB5 RK_FUNC_GPIO &pcfg_pull_up>,
					<1 RK_PB6 RK_FUNC_GPIO &pcfg_pull_up>,
					<1 RK_PB7 RK_FUNC_GPIO &pcfg_pull_up>,

					<1 RK_PA2 RK_FUNC_GPIO &pcfg_pull_up>,
					<1 RK_PA5 RK_FUNC_GPIO &pcfg_pull_up>,
					<1 RK_PA6 RK_FUNC_GPIO &pcfg_pull_up>,
					<1 RK_PA7 RK_FUNC_GPIO &pcfg_pull_up>,

					<2 RK_PA0 RK_FUNC_GPIO &pcfg_pull_up>,
					<2 RK_PA1 RK_FUNC_GPIO &pcfg_pull_up>,
					<2 RK_PA2 RK_FUNC_GPIO &pcfg_pull_up>,
					<2 RK_PA3 RK_FUNC_GPIO &pcfg_pull_up>,
					<2 RK_PA4 RK_FUNC_GPIO &pcfg_pull_up>,
					<2 RK_PA5 RK_FUNC_GPIO &pcfg_pull_up>,
					<2 RK_PA6 RK_FUNC_GPIO &pcfg_pull_up>,
					<2 RK_PA7 RK_FUNC_GPIO &pcfg_pull_up>,

					<2 RK_PB3 RK_FUNC_GPIO &pcfg_pull_up>,

					<3 RK_PA7 RK_FUNC_GPIO &pcfg_pull_up>,
					<3 RK_PC3 RK_FUNC_GPIO &pcfg_pull_up>,
					<3 RK_PC2 RK_FUNC_GPIO &pcfg_pull_up>,

					<3 RK_PC0 RK_FUNC_GPIO &pcfg_pull_up>,
					<3 RK_PB2 RK_FUNC_GPIO &pcfg_pull_up>,
					<3 RK_PC4 RK_FUNC_GPIO &pcfg_pull_up>,

					<3 RK_PC5 RK_FUNC_GPIO &pcfg_pull_up>,
					<3 RK_PB3 RK_FUNC_GPIO &pcfg_pull_up>,
					<3 RK_PB5 RK_FUNC_GPIO &pcfg_pull_up>,

					<3 RK_PD0 RK_FUNC_GPIO &pcfg_pull_up>,
					<3 RK_PD1 RK_FUNC_GPIO &pcfg_pull_up>,
					<3 RK_PD2 RK_FUNC_GPIO &pcfg_pull_up>,

					<3 RK_PB1 RK_FUNC_GPIO &pcfg_pull_up>,
					<3 RK_PB2 RK_FUNC_GPIO &pcfg_pull_up>,
					<3 RK_PB4 RK_FUNC_GPIO &pcfg_pull_up>,

					<3 RK_PC1 RK_FUNC_GPIO &pcfg_pull_up>;
		};
	};
};

/* DON'T PUT ANYTHING BELOW HERE.  PUT IT ABOVE PINCTRL */
